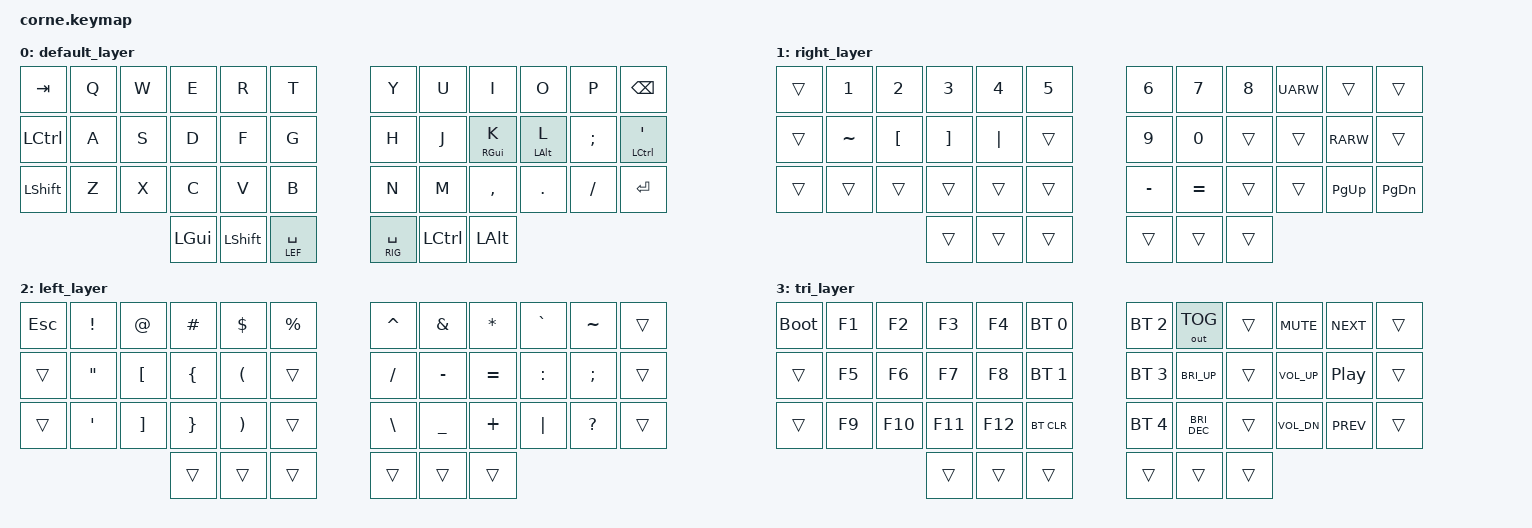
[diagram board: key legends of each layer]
// Copyright (c) 2022 The ZMK Contributors
// SPDX-License-Identifier: MIT

#include <behaviors.dtsi>
#include <dt-bindings/zmk/keys.h>
#include <dt-bindings/zmk/bt.h>
#include <dt-bindings/zmk/outputs.h>

// Home row mods macro
#define HRML(k2,k3,k4) &ht LCTRL k2  &ht LALT k3  &ht LGUI k4
//#define HRMR(k1,k2,k3) &ht RGUI k1  &ht RALT k2  &ht RCTRL k3
#define HRMR(k1,k2) &ht RIGHT_COMMAND k1  &ht RALT k2
 // Additional home row mods
#define WHRML(k2,k3,k4) &ht LALT k2  &ht LGUI k3  &ht LCTRL k4
#define WHRMR(k1,k2,k3) &ht RCTRL k1  &ht RGUI k2  &ht RALT k3

#define MAC 0
#define RIG 1
#define LEF 2
#define TRI 3

/ {
    behaviors {
        ht: hold_tap {
            label = "hold_tap";
            compatible = "zmk,behavior-hold-tap";
            #binding-cells = <2>;
            flavor = "tap-preferred";
            tapping-term-ms = <250>;
            quick-tap-ms = <150>;
            global-quick-tap;
            bindings = <&kp>, <&kp>;
        };
    };

    conditional_layers {
        compatible = "zmk,conditional-layers";
        tri_layer {
            if-layers = <RIG LEF>;
            then-layer = <TRI>;
        };
    };

    macros {
        delll: delll {
            label = "EMACS_DEL";
            compatible = "zmk,behavior-macro";
            #binding-cells = <0>;
            bindings
                = <&macro_press &kp LCTRL>
                , <&macro_tap &kp FSLH>
                , <&macro_release &kp LCTRL>
                ;
        };

        emacs_save: emacs_save {
            label = "EMACS_SAVE";
            compatible = "zmk,behavior-macro";
            #binding-cells = <0>;
            bindings
                = <&macro_press &kp LCTRL>
                , <&macro_tap &kp X>
                , <&macro_tap &kp S>
                , <&macro_release &kp LCTRL>
                ;
        };
    };

    combos {
        compatible = "zmk,combos";
        combo_tab {
            timeout-ms = <50>;
            key-positions = <6 7>;
            bindings = <&emacs_save>;
        };
    };
    keymap {
        compatible = "zmk,keymap";
        default_layer {
            bindings = <
        //╭──────────┬──────────┬──────────┬──────────┬──────────┬──────────╮   ╭──────────┬──────────┬──────────┬──────────┬──────────┬──────────────╮
        //│  TAB     │  Q       │  W       │  E       │  R       │  T       │   │  Y       │  U       │  I       │  O       │  P       │ ESC/BCS      │
            &kp TAB    &kp Q      &kp W         &kp E      &kp R      &kp T          &kp Y      &kp U      &kp I      &kp O      &kp P      &kp BSPC
        //├──────────┼──────────┼──────────┼──────────┼──────────┼──────────┤   ├──────────┼──────────┼──────────┼──────────┼──────────┼──────────────┤
        //│  CTRL    │  A       │  S       │  D       │  F       │  G       │   │  H       │  J       │  K       │  L       │  ;       │ '            │
             &kp LCTRL  &kp A      &kp S      &kp D      &kp F      &kp G          &kp H      &kp J    &ht RGUI K &ht LALT L  &kp SEMI   &ht LCTRL SQT
        //├──────────┼──────────┼──────────┼──────────┼──────────┼──────────┤   ├──────────┼──────────┼──────────┼──────────┼──────────┼──────────────┤
        //│  SHIFT   │  Z       │  X       │  C       │  V       │  B       │   │  N       │  M       │ , <      │ . >      │  /       │ ENTER        │
           &kp LSHIFT  &kp Z      &kp X      &kp C      &kp V      &kp B          &kp N     &kp M       &kp COMMA  &kp DOT    &kp FSLH   &kp ENTER
        //╰──────────┴──────────┴─┼─────────────┼──────────┼────────────────┤   ├──────────┴─────┼────┴────────┼─┴──────────┴──┼───────┴──────────────╯
                                    &kp LGUI     &kp LSHIFT  &lt LEF SPACE        &lt RIG SPACE     &kp LCTRL     &kp LALT
        //                        ╰─────────────┴──────────┴────────────────╯   ╰────────────────┴─────────────┴───────────────╯
            >;
        };
        right_layer {
            bindings = <
        //╭──────────┬──────────┬──────────┬──────────┬──────────┬──────────╮   ╭──────────┬──────────┬──────────┬──────────┬──────────┬──────────────╮
        //│          │ 1        │  2       │  3       │  4       │  5       │   │ 6        │ 7        │ 8        │ UP       │          │   C^/        │
            &trans    &kp N1      &kp N2     &kp N3     &kp N4     &kp N5        &kp N6     &kp N7     &kp N8     &kp UARW   &trans      &trans
        //├──────────┼──────────┼──────────┼──────────┼──────────┼──────────┤   ├──────────┼──────────┼──────────┼──────────┼──────────┼──────────────┤
        //│          │          │          │          │          |          |   | 9        │ 0        │ DOWN     │ UP       │ RIGHT    │              │
            &trans    &kp TILDE   &kp LBKT   &kp RBKT   &kp PIPE   &trans         &kp N9     &kp N0     &trans   &trans      &kp RARW   &trans
        //├──────────┼──────────┼──────────┼──────────┼──────────┼──────────┤   ├──────────┼──────────┼──────────┼──────────┼──────────┼──────────────┤
        //│          │          │          │          │          │          │   │          │          │          │          │ PAGE UP  │ PAGE DWN     │
            &trans    &trans     &trans     &trans      &trans     &trans         &kp MINUS  &kp EQUAL  &trans     &trans     &kp PG_UP  &kp PG_DN
        //╰──────────┴──────────┴──────────┼──────────┼──────────┤──────────┤   ├──────────┼──────────┼──────────┴──────────┴──────────┴──────────────╯
                                             &trans     &trans     &trans         &trans     &trans     &trans
        //                                 ╰──────────┴──────────┴──────────╯   ╰──────────┴──────────┴──────────╯
            >;
        };

        left_layer {
            bindings = <
        //╭──────────┬──────────┬──────────┬──────────┬──────────┬──────────╮   ╭──────────┬──────────┬──────────┬──────────┬──────────┬──────────────╮
        //│          │ !        │  @       │  #       │  $       │  %       │   │  ^       │  &       │  *       │  `       │  ~       │              │
            &kp ESC    &kp EXCL    &kp AT     &kp HASH   &kp DLLR   &kp PRCNT     &kp CARET  &kp AMPS   &kp ASTRK  &kp GRAVE  &kp TILDE  &trans
        //├──────────┼──────────┼──────────┼──────────┼──────────┼──────────┤   ├──────────┼──────────┼──────────┼──────────┼──────────┼──────────────┤
        //│          │ "        │  [       │  {       │  (       │          │   │   /      │  -       │  =       │     :    │  ;       │              │
            &trans     &kp DQT     &kp LBKT   &kp LBRC   &kp LPAR   &trans         &kp FSLH   &kp MINUS  &kp EQUAL  &kp COLON  &kp SEMI   &trans
        //├──────────┼──────────┼──────────┼──────────┼──────────┼──────────┤   ├──────────┼──────────┼──────────┼──────────┼──────────┼──────────────┤
        //│  '       │  '       │  ]       │  }       │  )       │          │   │    \     │  _       │  +       │  │       │   ?      │              │
            &trans     &kp SQT     &kp RBKT   &kp RBRC   &kp RPAR   &trans         &kp BSLH   &kp UNDER  &kp PLUS   &kp PIPE  &kp QMARK   &trans
        //╰──────────┴──────────┴──────────┼──────────┼──────────┤──────────┤   ├──────────┼──────────┼──────────┴──────────┴──────────┴──────────────╯
                                             &trans     &trans     &trans         &trans     &trans      &trans
        //                                 ╰──────────┴──────────┴──────────╯   ╰──────────┴──────────┴──────────╯
            >;
        };

        tri_layer {
            bindings = <
        //╭──────────┬──────────┬──────────┬──────────┬──────────┬──────────╮   ╭──────────┬──────────┬──────────┬──────────┬──────────┬──────────────╮
        //│ BTLOADER │  F1      │  F2      │  F3      │  F4      │ PROFILE0 │   │ PROFILE2 │ TOGGLEOUT│          │ VOL MUTE │ NEXTSONG │              │
           &bootloader  &kp F1     &kp F2     &kp F3     &kp F4  &bt BT_SEL 0   &bt BT_SEL 2 &out OUT_TOG  &trans &kp C_MUTE  &kp C_NEXT  &trans
        //├──────────┼──────────┼──────────┼──────────┼──────────┼──────────┤   ├──────────┼──────────┼──────────┼──────────┼──────────┼──────────────┤
        //│          │  F5      │  F6      │  F7      │  F8      │ PROFILE1 │   │ PROFILE3 │INCBRIGHT │          │  VOL UP  │PAUSEMUSIC│              │
            &trans     &kp F5     &kp F6     &kp F7     &kp F8   &bt BT_SEL 1   &bt BT_SEL 3 &kp C_BRI_UP  &trans  &kp C_VOL_UP  &kp C_PP &trans
        //├──────────┼──────────┼──────────┼──────────┼──────────┼──────────┤   ├──────────┼──────────┼──────────┼──────────┼──────────┼──────────────┤
        //│          │  F9      │  F10     │  F11     │  F12     │ CLEAR BT │   │ PROFILE4 │ DECBRIGHT│          |  VOLDOWN │ PREVSONG │              │
            &trans     &kp F9     &kp F10    &kp F11    &kp F12   &bt BT_CLR    &bt BT_SEL 4 &kp C_BRI_DEC  &trans &kp C_VOL_DN &kp C_PREV  &trans
        //╰──────────┴──────────┴──────────┼──────────┼──────────┤──────────┤   ├──────────┼──────────┼──────────┴──────────┴──────────┴──────────────╯
                                             &trans     &trans     &trans         &trans     &trans      &trans
        //                                 ╰──────────┴──────────┴──────────╯   ╰──────────┴──────────┴──────────╯
            >;
        };
    };
};
